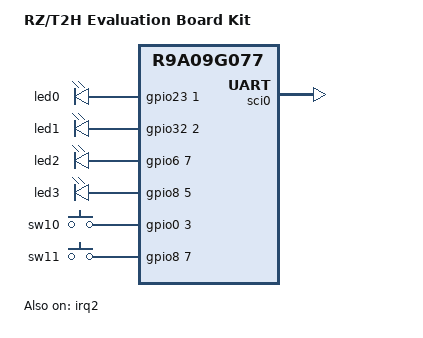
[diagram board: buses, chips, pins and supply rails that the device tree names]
/*
 * Copyright (c) 2026 Renesas Electronics Corporation
 *
 * SPDX-License-Identifier: Apache-2.0
 */

/dts-v1/;
#include <zephyr/dt-bindings/input/input-event-codes.h>
#include <arm/renesas/rz/rzt/r9a09g077.dtsi>
#include <freq.h>
#include "rzt2h_evb-pinctrl.dtsi"

/ {
	model = "RZ/T2H Evaluation Board Kit";
	compatible = "renesas,rzt2h-evb";

	chosen {
		zephyr,sram = &atcm;
		zephyr,flash = &xspi1_cs0;
		zephyr,code-partition = &slot0_partition;
		zephyr,console = &uart0;
		zephyr,shell-uart = &uart0;
	};

	aliases {
		led0 = &led0;
		sw0 = &sw10;
	};

	leds {
		compatible = "gpio-leds";

		led0: led0 {
			gpios = <&gpio23 1 GPIO_ACTIVE_HIGH>;
			label = "led0";
		};

		led1: led1 {
			gpios = <&gpio32 2 GPIO_ACTIVE_HIGH>;
			label = "led1";
		};

		led2: led2 {
			gpios = <&gpio6 7 GPIO_ACTIVE_HIGH>;
			label = "led2";
		};

		led3: led3 {
			gpios = <&gpio8 5 GPIO_ACTIVE_HIGH>;
			label = "led3";
		};
	};

	gpio_keys {
		compatible = "gpio-keys";

		sw10: sw10 {
			label = "sw10";
			gpios = <&gpio0 3 GPIO_ACTIVE_HIGH>;
			zephyr,code = <INPUT_KEY_0>;
		};

		sw11: sw11 {
			label = "sw11";
			gpios = <&gpio8 7 GPIO_ACTIVE_HIGH>;
			zephyr,code = <INPUT_KEY_1>;
		};
	};
};

&sci0 {
	pinctrl-0 = <&sci0_default>;
	pinctrl-names = "default";
	status = "okay";

	uart0: uart {
		current-speed = <115200>;
		status = "okay";
	};
};

&gpio0 {
	irqs = <&irq2 3>;
	status = "okay";
};

&gpio8 {
	status = "okay";
};

&gpio6 {
	status = "okay";
};

&gpio23 {
	status = "okay";
};

&gpio32 {
	status = "okay";
};

&irq2 {
	trigger-type = "falling";
	pinctrl-0 = <&irq2_default>;
	pinctrl-names = "default";
	status = "okay";
};
